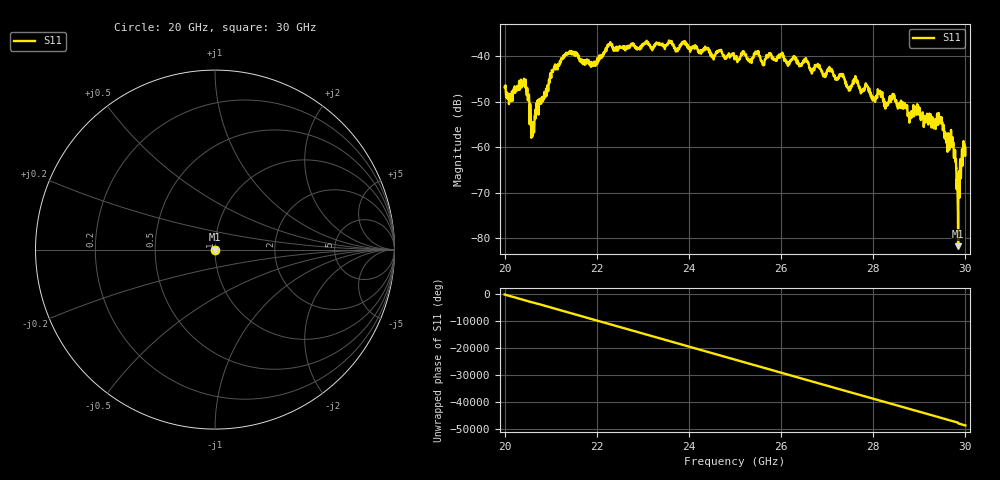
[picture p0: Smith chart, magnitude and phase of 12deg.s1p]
#  HZ  S  RI  R  50.00
! Rohde & Schwarz ZVA40 4Ports - Version 3.90 - 1145.1110k42 SN: 100403
! Date: 2023-10-03 12:43:15
! Measurement: S12
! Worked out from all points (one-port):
!   5001 points, 20 GHz to 30 GHz, reference 50 ohm
!   lowest |S11| = -81.8 dB at 29.84 GHz (marker M1), VSWR 1.00, Z = 50 - j0.0024 ohm
!   |S11| at or under -10 dB: start of sweep to end of sweep
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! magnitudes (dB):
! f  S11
! 20 GHz  -46.9
! 20.12 GHz  -48.4
! 20.42 GHz  -45.2
! 20.62 GHz  -56.1
! 21.03 GHz  -43.3
! 21.25 GHz  -40.7
! 21.46 GHz  -39.6
! 21.92 GHz  -41.6
! 22.27 GHz  -37.5
! 22.5 GHz  -38.2
! 23.59 GHz  -36.9
! 23.75 GHz  -38.9
! 23.89 GHz  -37.0
! 25 GHz  -40.3
! 26.25 GHz  -40.5
! 26.93 GHz  -44.1
! 27.06 GHz  -43.2
! 27.5 GHz  -47.2
! 27.63 GHz  -45.4
! 28 GHz  -49.2
! 28.15 GHz  -48.0
! 28.28 GHz  -50.6
! 28.44 GHz  -49.2
! 28.75 GHz  -53.1
! 29.47 GHz  -54.7
! 29.73 GHz  -59.7
! 29.84 GHz  -81.8
! 30 GHz  -60.1
